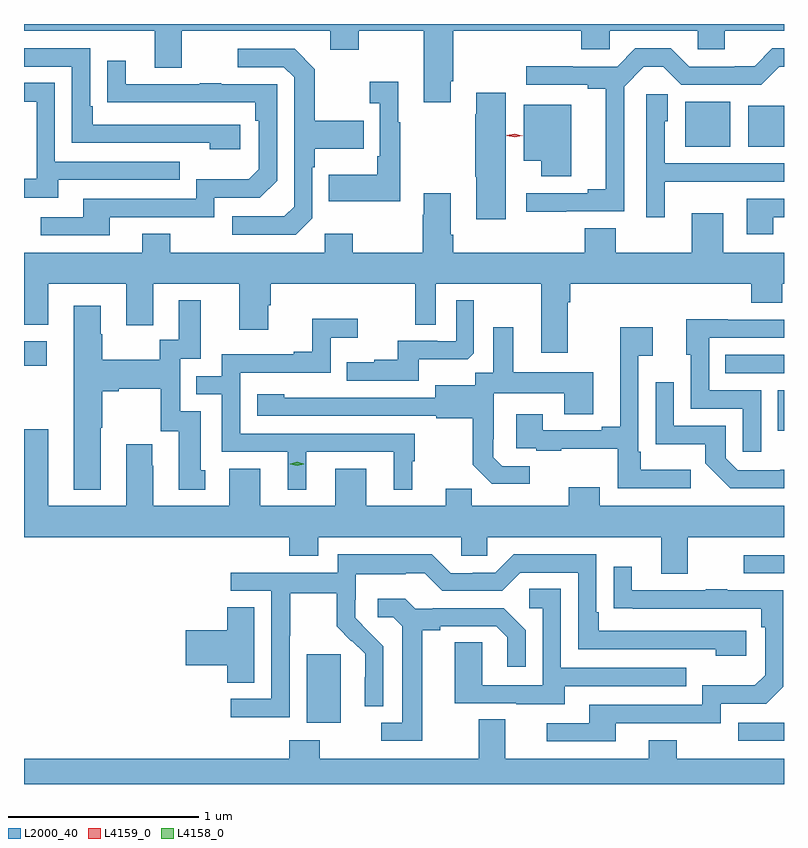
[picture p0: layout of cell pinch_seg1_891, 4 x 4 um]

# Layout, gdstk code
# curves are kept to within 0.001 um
import gdstk
lib = gdstk.Library(unit=1e-6, precision=1e-09)
def R(c, l, rs):  # rectangles x0, y0, x1, y1
    for r in rs: c.add(gdstk.rectangle(r[:2], r[2:], *l))
def P(c, l, *ps):  # polygons
    for p in ps: c.add(gdstk.Polygon(p, *l))
L2000_40 = (2000, 40)
L4158_0 = (4158, 0)
L4159_0 = (4159, 0)

pinch_seg1_891 = lib.new_cell('pinch_seg1_891')
R(pinch_seg1_891, L2000_40, [(594.723,540.003,594.964,540.099), (592.451,540.098,592.63,540.459), (594.753,540.885,594.964,540.981), (594.932,541.634,594.964,541.849), (594.655,541.938,594.964,542.034), (590.964,541.978,591.085,542.107), (594.443,543.131,594.682,543.367), (594.776,543.131,594.964,543.346)])
P(pinch_seg1_891, L2000_40, [(593.209,543.475),(593.222,543.475),(593.222,543.74),(593.897,543.74),(593.897,543.642),(594.048,543.642),(594.048,543.74),(594.51,543.74),(594.51,543.642),(594.652,543.642),(594.652,543.74),(594.964,543.74),(594.964,543.776),(590.964,543.776),(590.964,543.74),(591.653,543.74),(591.653,543.546),(591.793,543.546),(591.793,543.74),(592.577,543.74),(592.577,543.641),(592.725,543.641),(592.725,543.74),(593.069,543.74),(593.069,543.363),(593.209,543.363)],
  [(593.819,542.79),(594.123,542.79),(594.123,543.447),(594.227,543.551),(594.328,543.551),(594.423,543.456),(594.843,543.456),(594.938,543.551),(594.964,543.551),(594.964,543.648),(594.903,543.648),(594.809,543.554),(594.704,543.554),(594.704,543.552),(594.465,543.552),(594.369,543.648),(594.182,543.648),(594.086,543.552),(593.853,543.552),(593.853,543.554),(593.607,543.554),(593.607,543.456),(593.93,543.456),(593.93,543.436),(594.026,543.436),(594.026,542.906),(593.93,542.906),(593.93,542.886),(593.607,542.886),(593.607,542.789)],
  [(592.102,543.246),(591.325,543.246),(591.325,543.343),(591.312,543.343),(591.312,543.648),(590.964,543.648),(590.964,543.552),(591.216,543.552),(591.216,543.15),(591.941,543.15),(591.941,543.116),(592.102,543.116)],
  [(592.482,542.754),(592.482,543.023),(592.495,543.023),(592.495,543.119),(592.751,543.119),(592.751,543.267),(592.495,543.267),(592.495,543.539),(592.389,543.645),(592.089,543.645),(592.089,543.549),(592.332,543.549),(592.386,543.495),(592.386,542.814),(592.335,542.763),(592.059,542.763),(592.059,542.667),(592.395,542.667)],
  [(591.415,542.76),(591.966,542.76),(591.966,542.862),(592.206,542.862),(592.296,542.952),(592.296,543.459),(592.001,543.459),(592.001,543.464),(591.889,543.464),(591.889,543.459),(591.499,543.459),(591.499,543.583),(591.403,543.583),(591.403,543.364),(592.18,543.363),(592.18,543.266),(592.2,543.266),(592.2,543.012),(592.147,542.959),(591.87,542.959),(591.87,542.856),(591.275,542.856),(591.275,542.76),(591.051,542.76),(591.051,542.664),(591.415,542.664)],
  [(592.945,543.259),(592.933,543.259),(592.933,543.472),(592.785,543.472),(592.785,543.359),(592.836,543.359),(592.836,543.079),(592.824,543.079),(592.824,542.983),(592.567,542.983),(592.567,542.843),(592.945,542.843)],
  [(591.145,542.955),(591.785,542.955),(591.785,543.051),(591.126,543.051),(591.126,543.467),(590.964,543.467),(590.964,543.366),(591.03,543.366),(591.03,542.961),(590.964,542.961),(590.964,542.861),(591.145,542.861)],
  [(593.5,543.415),(593.345,543.415),(593.345,543.302),(593.338,543.302),(593.338,542.971),(593.345,542.971),(593.345,542.748),(593.5,542.748)],
  [(594.337,542.945),(594.671,542.945),(594.671,542.946),(594.964,542.946),(594.964,543.042),(594.336,543.042),(594.336,543.264),(594.352,543.264),(594.352,543.407),(594.24,543.407),(594.24,542.76),(594.337,542.76)],
  [(593.845,543.352),(593.594,543.352),(593.594,543.056),(593.687,543.056),(593.687,542.976),(593.845,542.976)],
  [(593.827,542.312),(593.84,542.312),(593.84,542.408),(594.791,542.408),(594.791,542.309),(594.955,542.309),(594.955,542.408),(594.964,542.408),(594.964,542.572),(594.643,542.572),(594.643,542.779),(594.479,542.779),(594.479,542.572),(594.079,542.572),(594.079,542.701),(593.915,542.701),(593.915,542.572),(593.222,542.572),(593.222,542.668),(593.209,542.668),(593.209,542.884),(593.069,542.884),(593.069,542.771),(593.062,542.771),(593.062,542.572),(592.695,542.572),(592.695,542.671),(592.548,542.671),(592.548,542.572),(591.735,542.572),(591.735,542.671),(591.587,542.671),(591.587,542.572),(590.964,542.572),(590.964,542.192),(591.091,542.192),(591.091,542.408),(591.503,542.408),(591.503,542.19),(591.643,542.19),(591.643,542.408),(592.097,542.408),(592.097,542.166),(592.249,542.166),(592.249,542.295),(592.262,542.295),(592.262,542.408),(593.022,542.408),(593.022,542.194),(593.13,542.194),(593.13,542.408),(593.687,542.408),(593.687,542.046),(593.827,542.046)],
  [(594.907,542.76),(594.964,542.76),(594.964,542.856),(594.767,542.856),(594.767,542.67),(594.907,542.67)],
  [(591.367,541.651),(591.375,541.651),(591.375,541.844),(591.463,541.844),(591.463,541.856),(591.683,541.856),(591.683,541.632),(591.779,541.632),(591.779,541.326),(591.919,541.326),(591.919,541.428),(591.895,541.428),(591.895,541.737),(591.786,541.737),(591.786,542.013),(591.895,542.013),(591.895,542.323),(591.779,542.323),(591.779,542.114),(591.678,542.114),(591.678,542.008),(591.375,542.008),(591.375,542.142),(591.367,542.142),(591.367,542.293),(591.227,542.293),(591.227,541.325),(591.367,541.325)],
  [(593.041,542.012),(593.299,542.012),(593.331,542.043),(593.331,542.323),(593.238,542.323),(593.238,542.106),(593.138,542.106),(593.138,542.109),(592.931,542.109),(592.931,542.008),(592.807,542.008),(592.807,541.996),(592.663,541.996),(592.663,541.899),(593.041,541.899)],
  [(592.45,541.524),(592.91,541.524),(592.91,541.325),(593.008,541.325),(593.008,541.476),(593.02,541.476),(593.02,541.62),(592.101,541.62),(592.101,541.941),(592.578,541.941),(592.578,542.126),(592.72,542.126),(592.72,542.225),(592.48,542.225),(592.48,542.05),(592.385,542.05),(592.385,542.037),(592.005,542.037),(592.005,541.923),(591.871,541.923),(591.871,541.827),(592.005,541.827),(592.005,541.524),(592.352,541.524),(592.352,541.325),(592.45,541.325)],
  [(594.843,541.848),(594.57,541.848),(594.57,542.124),(594.964,542.124),(594.964,542.22),(594.667,542.22),(594.667,542.222),(594.449,542.222),(594.449,542.034),(594.474,542.034),(594.474,541.752),(594.747,541.752),(594.747,541.524),(594.843,541.524)],
  [(594.472,541.429),(594.211,541.429),(594.211,541.525),(594.198,541.525),(594.198,542.03),(594.274,542.03),(594.274,542.179),(594.101,542.179),(594.101,541.657),(594.005,541.657),(594.005,541.638),(593.695,541.638),(593.695,541.723),(593.555,541.723),(593.555,541.542),(593.659,541.542),(593.659,541.53),(593.791,541.53),(593.791,541.541),(594.09,541.541),(594.09,541.332),(594.472,541.332)],
  [(593.626,541.449),(593.481,541.449),(593.434,541.496),(593.434,541.591),(593.436,541.591),(593.436,541.832),(593.807,541.832),(593.807,541.723),(593.959,541.723),(593.959,541.942),(593.539,541.942),(593.539,542.179),(593.435,542.179),(593.435,541.94),(593.34,541.94),(593.34,541.876),(593.129,541.876),(593.129,541.809),(592.335,541.81),(592.335,541.828),(592.191,541.828),(592.191,541.713),(593.133,541.713),(593.133,541.701),(593.325,541.701),(593.325,541.455),(593.425,541.355),(593.626,541.355)],
  [(594.964,541.43),(594.944,541.43),(594.944,541.428),(594.72,541.428),(594.657,541.491),(594.657,541.662),(594.384,541.662),(594.384,541.891),(594.288,541.891),(594.288,541.565),(594.55,541.565),(594.55,541.463),(594.68,541.332),(594.964,541.332)],
  [(594.457,541.076),(594.964,541.076),(594.964,541.24),(593.995,541.24),(593.995,541.339),(593.831,541.339),(593.831,541.24),(593.321,541.24),(593.321,541.331),(593.183,541.331),(593.183,541.24),(592.765,541.24),(592.765,541.435),(592.601,541.435),(592.601,541.24),(592.207,541.24),(592.207,541.435),(592.043,541.435),(592.043,541.24),(591.643,541.24),(591.643,541.451),(591.64,541.451),(591.64,541.564),(591.503,541.564),(591.503,541.24),(591.091,541.24),(591.091,541.642),(590.964,541.642),(590.964,541.076),(592.361,541.076),(592.361,540.977),(592.513,540.977),(592.513,541.076),(593.265,541.076),(593.265,540.978),(593.403,540.978),(593.403,541.076),(594.317,541.076),(594.317,540.882),(594.457,540.882)],
  [(592.362,540.556),(592.365,540.556),(592.365,540.78),(592.609,540.78),(592.609,540.605),(592.686,540.528),(592.689,540.531),(592.76,540.461),(592.76,540.338),(592.758,540.338),(592.758,540.184),(592.854,540.184),(592.854,540.502),(592.708,540.65),(592.708,540.747),(592.71,540.747),(592.71,540.881),(592.973,540.881),(592.973,540.885),(593.073,540.885),(593.166,540.792),(593.481,540.792),(593.577,540.888),(593.88,540.888),(593.88,540.486),(594.605,540.486),(594.605,540.452),(594.766,540.452),(594.766,540.582),(593.989,540.582),(593.989,540.679),(593.976,540.679),(593.976,540.984),(593.541,540.984),(593.445,540.888),(593.327,540.888),(593.327,540.885),(593.211,540.885),(593.111,540.985),(592.614,540.985),(592.614,540.888),(592.053,540.888),(592.053,540.792),(592.266,540.792),(592.266,540.225),(592.053,540.225),(592.053,540.127),(592.362,540.127)],
  [(594.079,540.096),(594.63,540.096),(594.63,540.198),(594.87,540.198),(594.96,540.288),(594.96,540.795),(594.665,540.795),(594.665,540.8),(594.553,540.8),(594.553,540.795),(594.163,540.795),(594.163,540.919),(594.067,540.919),(594.067,540.7),(594.844,540.699),(594.844,540.602),(594.864,540.602),(594.864,540.348),(594.811,540.295),(594.534,540.295),(594.534,540.192),(593.939,540.192),(593.939,540.096),(593.715,540.096),(593.715,540),(594.079,540)],
  [(593.809,540.291),(594.449,540.291),(594.449,540.387),(593.79,540.387),(593.79,540.803),(593.622,540.803),(593.622,540.702),(593.694,540.702),(593.694,540.297),(593.376,540.297),(593.376,540.521),(593.231,540.521),(593.231,540.201),(593.555,540.201),(593.555,540.197),(593.809,540.197)],
  [(593.059,540.584),(593.155,540.584),(593.155,540.606),(593.45,540.606),(593.507,540.549),(593.507,540.393),(593.604,540.393),(593.604,540.586),(593.488,540.702),(593.116,540.702),(593.116,540.699),(593.022,540.699),(592.97,540.751),(592.827,540.751),(592.827,540.654),(592.908,540.654),(592.955,540.607),(592.955,540.099),(592.845,540.099),(592.845,540.003),(593.059,540.003)],
  [(592.177,540.707),(592.034,540.707),(592.034,540.584),(591.816,540.584),(591.816,540.401),(592.034,540.401),(592.034,540.31),(592.177,540.31)],
  [(594.964,539.908),(594.399,539.908),(594.399,540.007),(594.251,540.007),(594.251,539.908),(593.497,539.908),(593.497,540.116),(593.357,540.116),(593.357,539.908),(592.521,539.908),(592.521,540.007),(592.361,540.007),(592.361,539.908),(590.964,539.908),(590.964,539.776),(594.964,539.776)])
P(pinch_seg1_891, L4158_0, [(592.401,541.451),(592.365,541.46),(592.365,541.461),(592.365,541.461),(592.401,541.471),(592.437,541.461),(592.437,541.461),(592.437,541.46)])
P(pinch_seg1_891, L4159_0, [(593.546,543.179),(593.506,543.189),(593.506,543.189),(593.506,543.19),(593.547,543.199),(593.587,543.189),(593.588,543.189),(593.587,543.188)])

lib.write_gds('pinch_seg1_891.gds')
